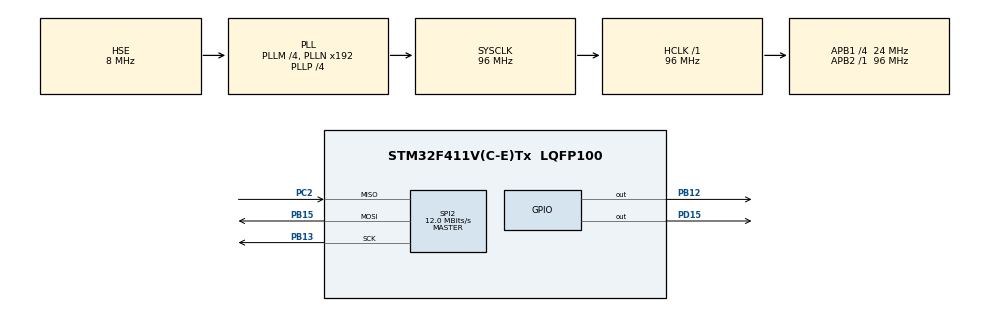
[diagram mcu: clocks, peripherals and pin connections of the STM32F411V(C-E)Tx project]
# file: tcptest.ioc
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Mcu.Family=STM32F4
Mcu.Name=STM32F411V(C-E)Tx
Mcu.Package=LQFP100
NVIC.PriorityGroup=NVIC_PRIORITYGROUP_0
PA13.GPIO_Label=SWDIO
PA13.Mode=Serial_Wire
PA13.Signal=SYS_JTMS-SWDIO
PA14.GPIO_Label=SWCLK
PA14.Mode=Serial_Wire
PA14.Signal=SYS_JTCK-SWCLK
PB12.Signal=GPIO_Output
PB13.Mode=Full_Duplex_Master
PB13.Signal=SPI2_SCK
PB15.Mode=Full_Duplex_Master
PB15.Signal=SPI2_MOSI
PB3.GPIO_Label=SWO
PB3.Signal=SYS_JTDO-SWO
PC14-OSC32_IN.GPIO_Label=PC14-OSC32_IN
PC14-OSC32_IN.Mode=LSE-External-Oscillator
PC14-OSC32_IN.Signal=RCC_OSC32_IN
PC15-OSC32_OUT.GPIO_Label=PC15-OSC32_OUT
PC15-OSC32_OUT.Mode=LSE-External-Oscillator
PC15-OSC32_OUT.Signal=RCC_OSC32_OUT
PC2.Mode=Full_Duplex_Master
PC2.Signal=SPI2_MISO
PD15.Signal=GPIO_Output
PH0\ -\ OSC_IN.GPIO_Label=PH0-OSC_IN
PH0\ -\ OSC_IN.Mode=HSE-External-Oscillator
PH0\ -\ OSC_IN.Signal=RCC_OSC_IN
PH1\ -\ OSC_OUT.GPIO_Label=PH1-OSC_OUT
PH1\ -\ OSC_OUT.Mode=HSE-External-Oscillator
PH1\ -\ OSC_OUT.Signal=RCC_OSC_OUT
ProjectManager.HeapSize=0x200
ProjectManager.StackSize=0x400
ProjectManager.TargetToolchain=STM32CubeIDE
RCC.48MHZClocksFreq_Value=48000000
RCC.AHBFreq_Value=96000000
RCC.APB1CLKDivider=RCC_HCLK_DIV4
RCC.APB1Freq_Value=24000000
RCC.APB1TimFreq_Value=48000000
RCC.APB2Freq_Value=96000000
RCC.APB2TimFreq_Value=96000000
RCC.CortexFreq_Value=96000000
RCC.HCLKFreq_Value=96000000
RCC.HSE_VALUE=8000000
RCC.HSI_VALUE=16000000
RCC.PLLI2SM=5
RCC.PLLI2SN=200
RCC.PLLM=4
RCC.PLLP=RCC_PLLP_DIV4
RCC.PLLQ=8
RCC.PLLSourceVirtual=RCC_PLLSOURCE_HSE
RCC.SYSCLKFreq_VALUE=96000000
RCC.SYSCLKSource=RCC_SYSCLKSOURCE_PLLCLK
RCC.VCOOutputFreq_Value=384000000
SPI2.BaudRatePrescaler=SPI_BAUDRATEPRESCALER_2
SPI2.CalculateBaudRate=12.0 MBits/s
SPI2.Direction=SPI_DIRECTION_2LINES
SPI2.Mode=SPI_MODE_MASTER
SPI2.VirtualType=VM_MASTER
board=STM32F411E-DISCO

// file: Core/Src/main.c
/* USER CODE BEGIN Header */
/**
  ******************************************************************************
  * @file           : main.c
  * @brief          : Main program body
  ******************************************************************************
  * @attention
  *
  * Copyright (c) 2022 STMicroelectronics.
  * All rights reserved.
  *
  * This software is licensed under terms that can be found in the LICENSE file
  * in the root directory of this software component.
  * If no LICENSE file comes with this software, it is provided AS-IS.
  *
  ******************************************************************************
  */
/* USER CODE END Header */
#include "main.h"

/* USER CODE BEGIN Includes */
#include "EtherShield.h"
#define error(...) {Error_Handler();}
/* USER CODE END Includes */

SPI_HandleTypeDef hspi2;

void SystemClock_Config(void);
static void MX_GPIO_Init(void);
static void MX_SPI2_Init(void);

/* USER CODE BEGIN 0 */
# define NET_DATBUFSIZE 11
# define NET_HEADERS_LENGTH (ETH_HEADER_LEN + IP_HEADER_LEN + UDP_HEADER_LEN)
# define NET_BUFSIZE (NET_DATBUFSIZE + NET_HEADERS_LENGTH)
# define net_senddatabuf ((uint8_t *)(&net_sendbuf[NET_HEADERS_LENGTH]))

static uint8_t  remote_mac[] = {0xdc, 0x41, 0xa9, 0x73, 0x8f, 0x7a};
static uint8_t  remote_ip[]  = {192,  168, 1, 100};
//static uint8_t net_sendbuf[NET_BUFSIZE];

void ES_PingCallback(void) {
}
uint16_t get_udp_data_len(uint8_t *buf)
{
	int16_t i;
	i=(((int16_t)buf[IP_TOTLEN_H_P])<<8)|(buf[IP_TOTLEN_L_P]&0xff);
	i-=IP_HEADER_LEN;
	i-=8;
	if (i<=0){
		i=0;
	}
	return((uint16_t)i);
}
static uint16_t info_data_len = 0;
uint16_t packetloop_icmp_udp(uint8_t *buf,uint16_t plen)
{
	if(eth_type_is_arp_and_my_ip(buf,plen)){
		if (buf[ETH_ARP_OPCODE_L_P]==ETH_ARP_OPCODE_REQ_L_V){
			// is it an arp request
			make_arp_answer_from_request(buf);
		}
		return 0;
	}
	// check if ip packets are for us:
	if(eth_type_is_ip_and_my_ip(buf,plen)==0){
		return 0;
	}
	if(buf[IP_PROTO_P]==IP_PROTO_ICMP_V && buf[ICMP_TYPE_P]==ICMP_TYPE_ECHOREQUEST_V){
		make_echo_reply_from_request(buf,plen);
		return 0;
	}
	if (buf[IP_PROTO_P]==IP_PROTO_UDP_V) {
		info_data_len=get_udp_data_len(buf);
		return(IP_HEADER_LEN+8+14);
	}
	return 0;
}

uint8_t net_recvbuf[NET_BUFSIZE + 1];
/*void HAL_Delay(__IO uint32_t Delay)
{
	uint32_t tickstart = 0;
	tickstart = HAL_GetTick();
	while((HAL_GetTick() - tickstart) < Delay)
	{
		packetloop_icmp_udp(net_recvbuf, ES_enc28j60PacketReceive(NET_BUF_SIZE, net_recvbuf));
	}
}*/

static uint8_t   local_mac[] = {0x80, 0xfa, 0x5b, 0x8c, 0xa9, 0x69};
static uint8_t   local_ip[]  = {192,  168, 1, 110};
static void eth_init() {
	/*ETHERNET_LED_GPIO->BSRR = ETHERNET_LED_PIN;
	HAL_Delay(1000);
	ETHERNET_LED_GPIO->BSRR = ETHERNET_LED_PIN << 16;*/

	ES_enc28j60SpiInit(&hspi2);
	ES_enc28j60Init(local_mac);
	uint8_t enc28j60_rev = ES_enc28j60Revision();
	if (enc28j60_rev <= 0)
		error(2);
	ES_init_ip_arp_udp_tcp(local_mac, local_ip, 80);

	return;
}

/* USER CODE END 0 */

static uint8_t net_sendbuf[NET_BUFSIZE];
int main(void)
{

  /* MCU Configuration--------------------------------------------------------*/

  /* Reset of all peripherals, Initializes the Flash interface and the Systick. */
  HAL_Init();

  /* Configure the system clock */
  SystemClock_Config();

  /* Initialize all configured peripherals */
  MX_GPIO_Init();
  MX_SPI2_Init();
  /* USER CODE BEGIN 2 */

  ETHERNET_LED_GPIO->BSRR = ETHERNET_LED_PIN;
  eth_init();
  int counter = 0;

  /* USER CODE END 2 */

  /* Infinite loop */
  while (1)
  {
	  char data[11] = "0123456789";
	  memcpy(net_senddatabuf, &data, sizeof(data));
	  ES_send_udp_data2(net_sendbuf ,remote_mac ,sizeof(data), 26524, remote_ip, 85);
	  counter++;
	  HAL_Delay(2000);
  }
}

void SystemClock_Config(void)
{
  RCC_OscInitTypeDef RCC_OscInitStruct = {0};
  RCC_ClkInitTypeDef RCC_ClkInitStruct = {0};

  /** Configure the main internal regulator output voltage
  */
  __HAL_RCC_PWR_CLK_ENABLE();
  __HAL_PWR_VOLTAGESCALING_CONFIG(PWR_REGULATOR_VOLTAGE_SCALE1);
  /** Initializes the RCC Oscillators according to the specified parameters
  * in the RCC_OscInitTypeDef structure.
  */
  RCC_OscInitStruct.OscillatorType = RCC_OSCILLATORTYPE_HSE;
  RCC_OscInitStruct.HSEState = RCC_HSE_ON;
  RCC_OscInitStruct.PLL.PLLState = RCC_PLL_ON;
  RCC_OscInitStruct.PLL.PLLSource = RCC_PLLSOURCE_HSE;
  RCC_OscInitStruct.PLL.PLLM = 4;
  RCC_OscInitStruct.PLL.PLLN = 192;
  RCC_OscInitStruct.PLL.PLLP = RCC_PLLP_DIV4;
  RCC_OscInitStruct.PLL.PLLQ = 8;
  if (HAL_RCC_OscConfig(&RCC_OscInitStruct) != HAL_OK)
  {
    Error_Handler();
  }
  /** Initializes the CPU, AHB and APB buses clocks
  */
  RCC_ClkInitStruct.ClockType = RCC_CLOCKTYPE_HCLK|RCC_CLOCKTYPE_SYSCLK
                              |RCC_CLOCKTYPE_PCLK1|RCC_CLOCKTYPE_PCLK2;
  RCC_ClkInitStruct.SYSCLKSource = RCC_SYSCLKSOURCE_PLLCLK;
  RCC_ClkInitStruct.AHBCLKDivider = RCC_SYSCLK_DIV1;
  RCC_ClkInitStruct.APB1CLKDivider = RCC_HCLK_DIV4;
  RCC_ClkInitStruct.APB2CLKDivider = RCC_HCLK_DIV1;

  if (HAL_RCC_ClockConfig(&RCC_ClkInitStruct, FLASH_LATENCY_3) != HAL_OK)
  {
    Error_Handler();
  }
}

static void MX_SPI2_Init(void)
{

  /* SPI2 parameter configuration*/
  hspi2.Instance = SPI2;
  hspi2.Init.Mode = SPI_MODE_MASTER;
  hspi2.Init.Direction = SPI_DIRECTION_2LINES;
  hspi2.Init.DataSize = SPI_DATASIZE_8BIT;
  hspi2.Init.CLKPolarity = SPI_POLARITY_LOW;
  hspi2.Init.CLKPhase = SPI_PHASE_1EDGE;
  hspi2.Init.NSS = SPI_NSS_SOFT;
  hspi2.Init.BaudRatePrescaler = SPI_BAUDRATEPRESCALER_2;
  hspi2.Init.FirstBit = SPI_FIRSTBIT_MSB;
  hspi2.Init.TIMode = SPI_TIMODE_DISABLE;
  hspi2.Init.CRCCalculation = SPI_CRCCALCULATION_DISABLE;
  hspi2.Init.CRCPolynomial = 10;
  if (HAL_SPI_Init(&hspi2) != HAL_OK)
  {
    Error_Handler();
  }

}

static void MX_GPIO_Init(void)
{
  GPIO_InitTypeDef GPIO_InitStruct = {0};

  /* GPIO Ports Clock Enable */
  __HAL_RCC_GPIOC_CLK_ENABLE();
  __HAL_RCC_GPIOH_CLK_ENABLE();
  __HAL_RCC_GPIOB_CLK_ENABLE();
  __HAL_RCC_GPIOD_CLK_ENABLE();
  __HAL_RCC_GPIOA_CLK_ENABLE();

  /*Configure GPIO pin Output Level */
  HAL_GPIO_WritePin(GPIOB, GPIO_PIN_12, GPIO_PIN_RESET);

  /*Configure GPIO pin Output Level */
  HAL_GPIO_WritePin(GPIOD, GPIO_PIN_15, GPIO_PIN_RESET);

  /*Configure GPIO pin : PB12 */
  GPIO_InitStruct.Pin = GPIO_PIN_12;
  GPIO_InitStruct.Mode = GPIO_MODE_OUTPUT_PP;
  GPIO_InitStruct.Pull = GPIO_NOPULL;
  GPIO_InitStruct.Speed = GPIO_SPEED_FREQ_LOW;
  HAL_GPIO_Init(GPIOB, &GPIO_InitStruct);

  /*Configure GPIO pin : PD15 */
  GPIO_InitStruct.Pin = GPIO_PIN_15;
  GPIO_InitStruct.Mode = GPIO_MODE_OUTPUT_PP;
  GPIO_InitStruct.Pull = GPIO_NOPULL;
  GPIO_InitStruct.Speed = GPIO_SPEED_FREQ_LOW;
  HAL_GPIO_Init(GPIOD, &GPIO_InitStruct);

}

void Error_Handler(void)
{
  /* USER CODE BEGIN Error_Handler_Debug */
  /* User can add his own implementation to report the HAL error return state */
	ETHERNET_LED_GPIO->BSRR = ETHERNET_LED_PIN;
	while(1)
	{
	}
  /* USER CODE END Error_Handler_Debug */
}
